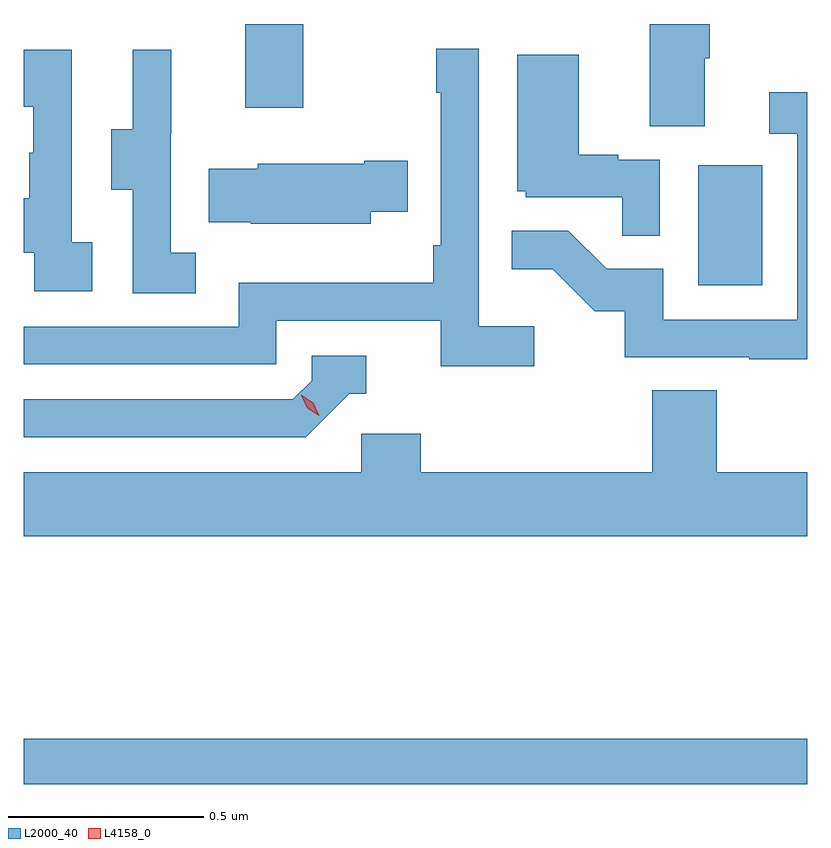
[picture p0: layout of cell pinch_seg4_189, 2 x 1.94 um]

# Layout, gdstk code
import gdstk
lib = gdstk.Library(unit=1e-6, precision=1e-09)
def R(c, l, rs):  # rectangles x0, y0, x1, y1
    for r in rs: c.add(gdstk.rectangle(r[:2], r[2:], *l))
def P(c, l, *ps):  # polygons
    for p in ps: c.add(gdstk.Polygon(p, *l))
L2000_40 = (2000, 40)
L4158_0 = (4158, 0)

pinch_seg4_189 = lib.new_cell('pinch_seg4_189')
R(pinch_seg4_189, L2000_40, [(1091.601,804.18,1093.601,804.296), (1093.322,805.452,1093.486,805.759), (1092.167,805.905,1092.315,806.119)])
P(pinch_seg4_189, L2000_40, [(1093.339,806.032),(1093.352,806.032),(1093.352,806.119),(1093.199,806.119),(1093.199,805.858),(1093.339,805.858)],
  [(1092.904,805.348),(1092.762,805.348),(1092.762,806.056),(1092.654,806.056),(1092.654,805.943),(1092.666,805.943),(1092.666,805.555),(1092.646,805.555),(1092.646,805.459),(1092.15,805.459),(1092.15,805.347),(1091.601,805.347),(1091.601,805.251),(1092.246,805.251),(1092.246,805.362),(1092.665,805.362),(1092.665,805.246),(1092.904,805.246)],
  [(1092.04,805.535),(1091.976,805.535),(1091.976,805.839),(1091.978,805.839),(1091.978,806.053),(1091.879,806.053),(1091.879,805.851),(1091.825,805.851),(1091.825,805.696),(1091.88,805.696),(1091.88,805.432),(1092.04,805.432)],
  [(1091.776,805.562),(1091.724,805.562),(1091.724,806.053),(1091.601,806.053),(1091.601,805.908),(1091.626,805.908),(1091.626,805.79),(1091.616,805.79),(1091.616,805.675),(1091.601,805.675),(1091.601,805.535),(1091.628,805.535),(1091.628,805.437),(1091.776,805.437)],
  [(1093.224,805.773),(1093.118,805.773),(1093.118,805.786),(1093.018,805.786),(1093.018,806.041),(1092.86,806.041),(1092.86,805.692),(1092.882,805.692),(1092.882,805.677),(1093.129,805.677),(1093.129,805.579),(1093.224,805.579)],
  [(1093.601,805.945),(1093.503,805.945),(1093.503,805.839),(1093.575,805.839),(1093.575,805.365),(1093.233,805.365),(1093.233,805.494),(1093.089,805.494),(1092.991,805.592),(1092.847,805.592),(1092.847,805.493),(1092.951,805.493),(1093.058,805.386),(1093.135,805.386),(1093.135,805.269),(1093.453,805.269),(1093.453,805.264),(1093.601,805.264)],
  [(1092.487,805.64),(1092.581,805.64),(1092.581,805.77),(1092.47,805.77),(1092.47,805.762),(1092.198,805.762),(1092.198,805.75),(1092.073,805.75),(1092.073,805.613),(1092.181,805.613),(1092.181,805.61),(1092.487,805.61)],
  [(1092.432,805.176),(1092.475,805.176),(1092.475,805.272),(1092.336,805.272),(1092.336,805.209),(1092.288,805.161),(1091.601,805.161),(1091.601,805.065),(1092.321,805.065)],
  [(1093.601,804.976),(1093.37,804.976),(1093.37,805.184),(1093.205,805.184),(1093.205,804.976),(1092.614,804.976),(1092.614,805.074),(1092.462,805.074),(1092.462,804.976),(1091.601,804.976),(1091.601,804.812),(1093.601,804.812)])
P(pinch_seg4_189, L4158_0, [(1092.356,805.12),(1092.325,805.139),(1092.309,805.172),(1092.309,805.173),(1092.309,805.173),(1092.34,805.153),(1092.356,805.12),(1092.356,805.12)])

lib.write_gds('pinch_seg4_189.gds')
